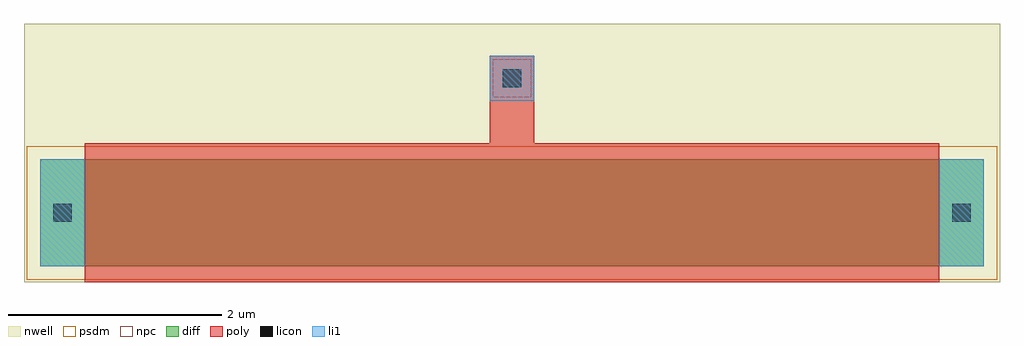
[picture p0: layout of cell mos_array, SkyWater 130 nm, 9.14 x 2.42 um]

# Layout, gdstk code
import gdstk
lib = gdstk.Library(unit=1e-6, precision=1e-09)
def R(c, l, rs):  # rectangles x0, y0, x1, y1
    for r in rs: c.add(gdstk.rectangle(r[:2], r[2:], *l))
nwell = (64, 20)
diff = (65, 20)
poly = (66, 20)
licon = (66, 44)
li1 = (67, 20)
psdm = (94, 20)
npc = (95, 20)

mos_array = lib.new_cell('mos_array')
R(mos_array, nwell, [(-0.15,-0.15,8.99,2.27)])
R(mos_array, diff, [(0,0,8.84,1)])
R(mos_array, poly, [(0.42,-0.15,8.42,1), (0.42,1,8.42,1.15), (0.42,1,8.42,1.15), (4.21,1.15,4.63,1.97)])
R(mos_array, licon, [(0.125,0.415,0.295,0.585), (8.545,0.415,8.715,0.585), (4.335,1.675,4.505,1.845)])
R(mos_array, li1, [(0,0,0.42,1), (8.42,0,8.84,1), (4.21,1.55,4.63,1.97)])
R(mos_array, psdm, [(-0.125,-0.125,8.965,1.125)])
R(mos_array, npc, [(4.24,1.58,4.6,1.94)])

lib.write_gds('mos_array.gds')
